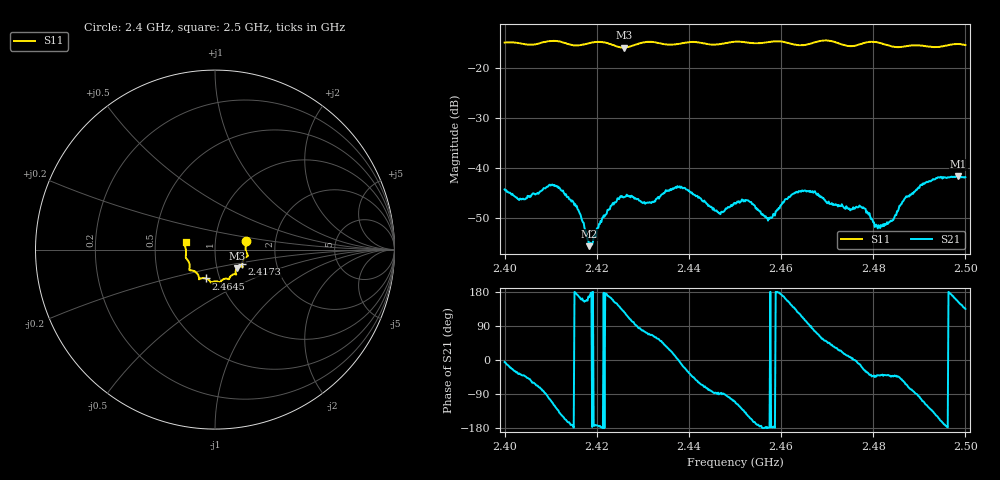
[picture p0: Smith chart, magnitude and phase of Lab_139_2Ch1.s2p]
# Hz S RI R 50
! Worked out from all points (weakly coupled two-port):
!   601 points, 2.4 GHz to 2.5 GHz, reference 50 ohm
!   highest |S21| = -41.65 dB at 2.4985 GHz (marker M1); lowest = -55.7 dB at 2.4183 GHz (marker M2)
!   lowest |S11| = -15.9 dB at 2.4258 GHz (marker M3), VSWR 1.38, Z = 62.3 - j13.2 ohm
!   |S11| at or under -10 dB: start of sweep to end of sweep
!   S12 and S22 are empty: the file has one direction only
!   S11 on the Smith chart (normalised r, x): 2.4 GHz: 1.41, +0.14; 2.4173 GHz: 1.34, -0.22; 2.4645 GHz: 0.86, -0.28; 2.5 GHz: 0.72, +0.06
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2.4e9  0.1727 0.049  0.00606 -0.000568  0 0  0 0
2.404e9  0.1722 0.0253  0.00374 -0.00321  0 0  0 0
2.411e9  0.1831 -0.0354  -0.00364 -0.00546  0 0  0 0
2.416667e9  0.1527 -0.0739  -0.00294 0.0011  0 0  0 0
2.417333e9  0.152 -0.0813  -0.00225 0.0011  0 0  0 0
2.418333e9  0.1523 -0.0904  -0.00159 0.000416  0 0  0 0
2.422833e9  0.1468 -0.094  -0.00373 0.000969  0 0  0 0
2.425833e9  0.1221 -0.1033  -0.00315 0.00395  0 0  0 0
2.433333e9  0.1129 -0.1371  0.00287 0.00424  0 0  0 0
2.438e9  0.0825 -0.1539  0.00651 -0.000567  0 0  0 0
2.446333e9  0.0454 -0.1661  0.000243 -0.00361  0 0  0 0
2.45e9  0.0289 -0.1808  -0.00151 -0.0042  0 0  0 0
2.453e9  0.0171 -0.178  -0.00401 -0.00238  0 0  0 0
2.4575e9  -0.0164 -0.1814  -0.0031 -9.08e-05  0 0  0 0
2.4645e9  -0.0517 -0.1605  -0.00241 0.00541  0 0  0 0
2.466667e9  -0.0758 -0.1595  0.000589 0.00569  0 0  0 0
2.4775e9  -0.1311 -0.1156  0.00383 -0.0013  0 0  0 0
2.480833e9  -0.1433 -0.1098  0.00198 -0.00167  0 0  0 0
2.483333e9  -0.141 -0.0901  0.00215 -0.00181  0 0  0 0
2.490667e9  -0.1629 -0.0364  -0.00215 -0.00639  0 0  0 0
2.4985e9  -0.1699 0.035  -0.00737 0.00375  0 0  0 0
2.5e9  -0.1639 0.0434  -0.0057 0.00573  0 0  0 0
